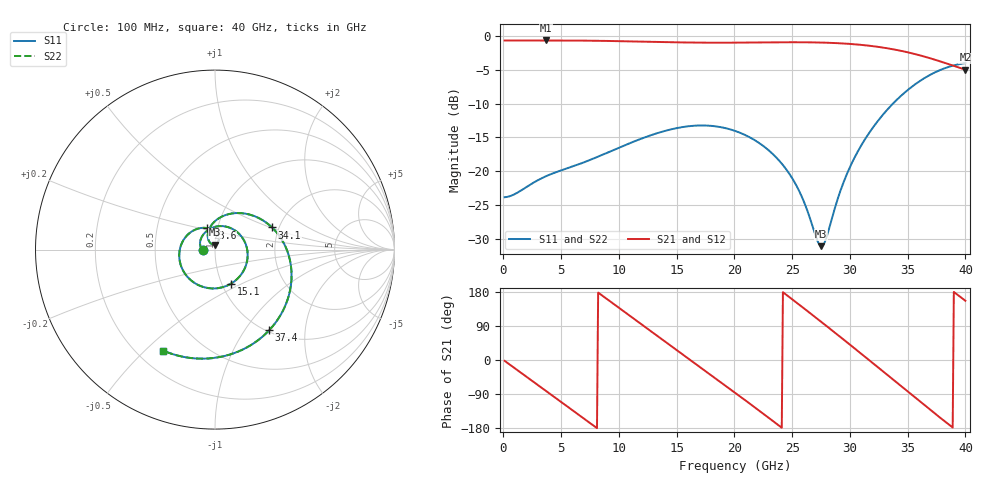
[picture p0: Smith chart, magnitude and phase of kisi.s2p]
! C_s8_nfp: L1→L8, antipad Ø0.9, non-functional pads kept
! stackup: 8-layer 1.6 mm FR-4 (generic)
! ports: 1, 2
! kisi-fdtd, conformal, dfine 0.035 mm, 637065 cells
# Hz S RI R 50
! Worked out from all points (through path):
!   400 points, 100 MHz to 40 GHz, reference 50 ohm
!   highest |S21| = -0.63 dB at 3.7 GHz (marker M1); lowest = -5.0 dB at 40 GHz (marker M2)
!   group delay of S21, straight-line fit = 64 ps
!   lowest |S11| = -31.1 dB at 27.5 GHz (marker M3), VSWR 1.06, Z = 49.8 + j2.77 ohm
!   |S11| at or under -10 dB: start of sweep to 33.72 GHz
!   |S22| runs from -31.1 to -4.0 dB; largest |S21 - S12| = 2.2e-07
!   S11 on the Smith chart (normalised r, x): 100 MHz: 0.88, +0.00; 15.1 GHz: 1.11, -0.44; 23.6 GHz: 0.89, +0.22; 34.1 GHz: 1.84, +0.51; 37.4 GHz: 1.02, -1.30; 40 GHz: 0.30, -0.57
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1e8  -0.0642 2.21e-05  0.929 -0.0359  0.929 -0.0359  -0.0642 2.21e-05
1.7e9  -0.0734 0.00597  0.7365 -0.5677  0.7365 -0.5677  -0.0734 0.00597
3.7e9  -0.0832 0.0393  0.1301 -0.9211  0.1301 -0.9211  -0.0832 0.0393
6.8e9  -0.0411 0.1074  -0.811 -0.4511  -0.811 -0.4511  -0.0411 0.1074
8.7e9  0.0278 0.131  -0.899 0.2117  -0.899 0.2117  0.0278 0.131
1.07e10  0.1266 0.0951  -0.4886 0.7757  -0.4886 0.7757  0.1266 0.0951
1.34e10  0.1747 -0.0808  0.423 0.8014  0.423 0.8014  0.1747 -0.0808
1.51e10  0.0903 -0.189  0.82 0.3722  0.82 0.3722  0.0903 -0.189
1.74e10  -0.0991 -0.1945  0.8 -0.4035  0.8 -0.4035  -0.0991 -0.1945
2.01e10  -0.198 -0.012  0.0424 -0.8951  0.0424 -0.8951  -0.198 -0.012
2.17e10  -0.1469 0.0877  -0.4965 -0.7486  -0.4965 -0.7486  -0.1469 0.0877
2.36e10  -0.0429 0.1196  -0.8788 -0.2002  -0.8788 -0.2002  -0.0429 0.1196
2.51e10  0.0126 0.0851  -0.8363 0.3391  -0.8363 0.3391  0.0126 0.0851
2.67e10  0.0151 0.0379  -0.4526 0.7784  -0.4526 0.7784  0.0151 0.0379
2.75e10  -0.00166 0.0278  -0.1726 0.8808  -0.1726 0.8808  -0.00166 0.0278
2.9e10  -0.0364 0.0534  0.376 0.8041  0.376 0.8041  -0.0364 0.0534
3.07e10  -0.0172 0.1398  0.7957 0.3449  0.7957 0.3449  -0.0172 0.1398
3.34e10  0.2351 0.1798  0.5886 -0.5563  0.5886 -0.5563  0.2351 0.1798
3.41e10  0.3177 0.1233  0.3852 -0.6893  0.3852 -0.6893  0.3177 0.1233
3.56e10  0.4247 -0.1046  -0.1035 -0.7317  -0.1035 -0.7317  0.4247 -0.1046
3.74e10  0.3014 -0.4499  -0.5283 -0.4093  -0.5283 -0.4093  0.3014 -0.4499
4e10  -0.289 -0.5624  -0.5174 0.2271  -0.5174 0.2271  -0.289 -0.5624
